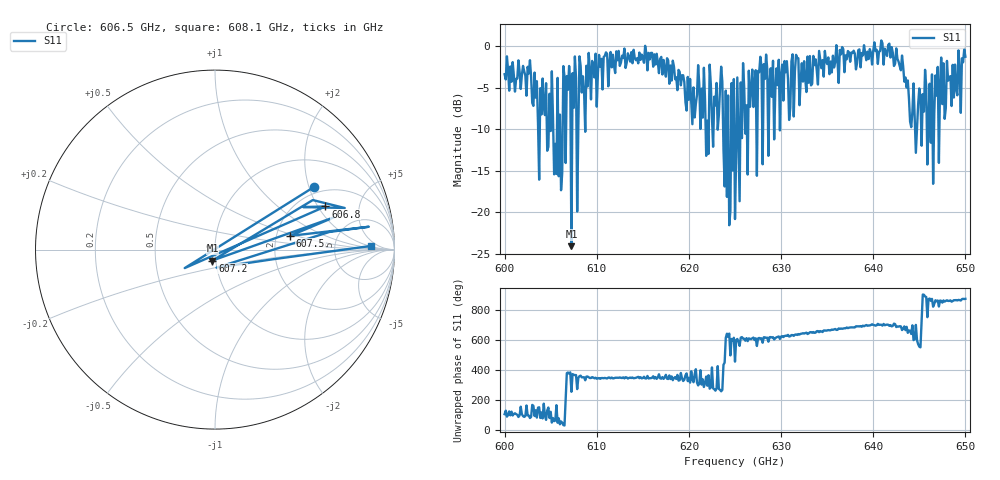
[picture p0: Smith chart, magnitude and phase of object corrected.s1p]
!Created with skrf (http://scikit-rf.org).
# GHz S MA R 50.0
!freq magS11 angS11
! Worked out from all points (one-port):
!   401 points, 600 GHz to 650 GHz, reference 50 ohm
!   lowest |S11| = -24.1 dB at 607.2 GHz (marker M1), VSWR 1.13, Z = 48.3 - j5.89 ohm
!   |S11| at or under -10 dB: 604.585 GHz to 604.7917 GHz (206.7 MHz wide, 0.0342 % of centre); 605.275 GHz to 605.6834 GHz (408.4 MHz wide, 0.0674 % of centre); 606.024 GHz to 606.3013 GHz (277.3 MHz wide, 0.0457 % of centre) (the widest 3 of 34)
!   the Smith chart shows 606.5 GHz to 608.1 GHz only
!   S11 on the Smith chart (normalised r, x): 606.5 GHz: 1.77, +2.18; 606.8 GHz: 2.74, +2.33; 607.2 GHz: 0.97, -0.12; 607.5 GHz: 2.38, +0.44; 608.1 GHz: 14, +2
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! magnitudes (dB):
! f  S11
! 600 GHz  -3.4
! 602.8 GHz  -1.7
! 603.8 GHz  -16.1
! 605 GHz  -10.2
! 605.6 GHz  -15.4
! 606.2 GHz  -15.3
! 606.5 GHz  -3.7
! 606.8 GHz  -3.6
! 607.2 GHz  -24.1
! 607.5 GHz  -7.4
! 608.1 GHz  -1.2
! 608.4 GHz  -5.6
! 612.5 GHz  -2.4
! 618.8 GHz  -5.3
! 621.9 GHz  -13.2
! 623.4 GHz  -5.1
! 624.2 GHz  -5.9
! 625 GHz  -20.8
! 625.2 GHz  -3.8
! 625.9 GHz  -2.0
! 626.4 GHz  -15.5
! 627 GHz  -7.3
! 631.2 GHz  -1.0
! 637.5 GHz  -1.9
! 641.9 GHz  -1.4
! 643.8 GHz  -4.1
! 646.2 GHz  -11.6
! 650 GHz  -1.3
